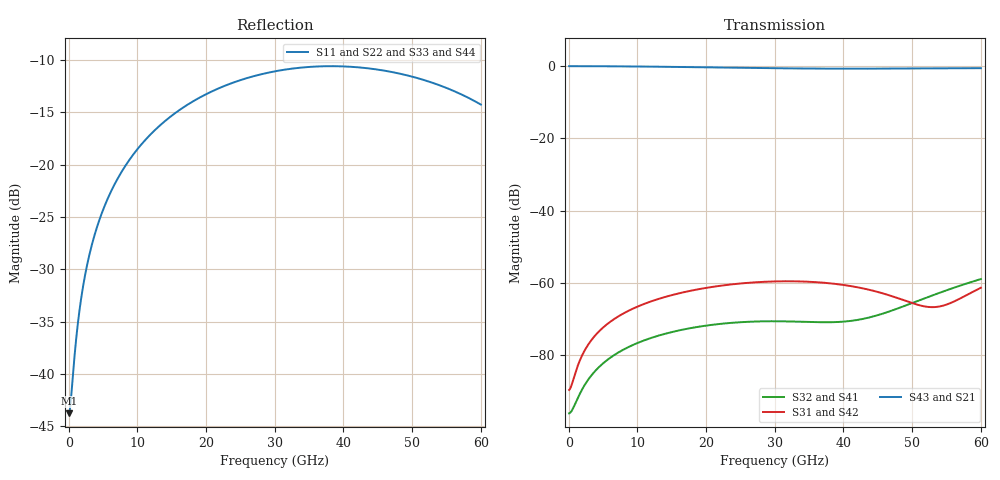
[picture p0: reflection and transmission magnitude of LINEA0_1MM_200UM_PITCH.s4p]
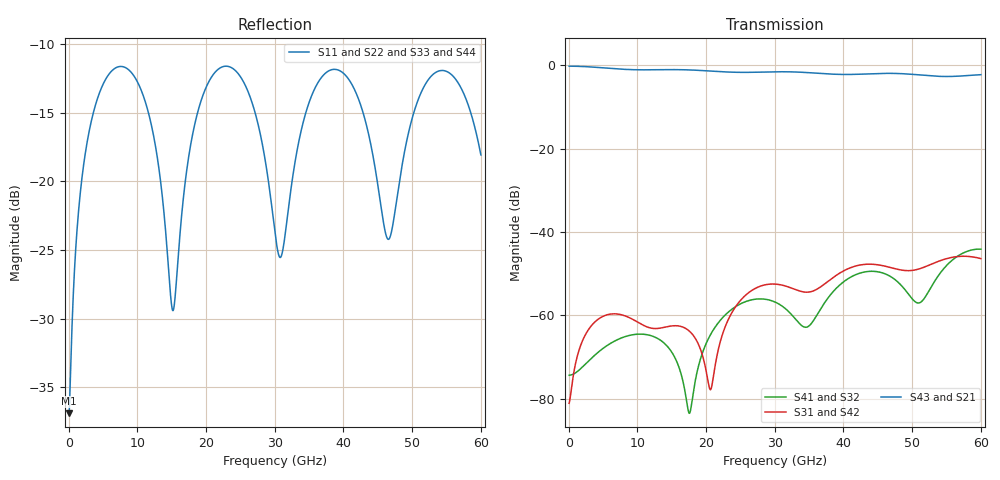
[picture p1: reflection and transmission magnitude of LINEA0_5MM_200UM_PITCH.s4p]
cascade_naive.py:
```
"""Step 1: chain five 1 mm blocks and compare with the 5 mm CST result.
Ports: 1->2 line A, 3->4 line B; ports 1 and 3 at the same (left) end."""
import numpy as np, matplotlib.pyplot as plt
from first_look_lib import load4

L, R = [0, 2], [1, 3]          # left-end ports (1,3), right-end ports (2,4)

def blocks(S):
    """Split S into left/right blocks: b_L = S_LL a_L + S_LR a_R, etc."""
    return (S[:, L][:, :, L], S[:, L][:, :, R], S[:, R][:, :, L], S[:, R][:, :, R])

def star(SA, SB):
    """Redheffer star product: A's right end connected to B's left end."""
    A11, A12, A21, A22 = blocks(SA); B11, B12, B21, B22 = blocks(SB)
    I = np.eye(2)
    M1 = np.linalg.inv(I - B11 @ A22)       # bounces between the two blocks
    M2 = np.linalg.inv(I - A22 @ B11)
    S11 = A11 + A12 @ M1 @ B11 @ A21
    S12 = A12 @ M1 @ B12
    S21 = B21 @ M2 @ A21
    S22 = B22 + B21 @ M2 @ A22 @ B12
    S = np.zeros_like(SA)
    for (i, j), blk in {(0, 0): S11, (0, 1): S12, (1, 0): S21, (1, 1): S22}.items():
        P, Q = (L, R)[i], (L, R)[j]
        for a in range(2):
            for b in range(2):
                S[:, P[a], Q[b]] = blk[:, a, b]
    return S

if __name__ == "__main__":
    f1, S1 = load4("LINEA0_1MM_200UM_PITCH.s4p")
    f5, S5 = load4("LINEA0_5MM_200UM_PITCH.s4p")
    assert np.allclose(f1, f5)
    Sc = S1
    for _ in range(4):
        Sc = star(Sc, S1)
    db = lambda x: 20*np.log10(abs(x)); G = f1/1e9
    k = lambda g: np.argmin(abs(G-g))
    print("   GHz | thru S21 dB: 5mm  1mmx5 | NEXT S31: 5mm  1mmx5 | FEXT S41: 5mm  1mmx5")
    for g in (1, 10, 30, 50, 60):
        i = k(g)
        print(f"{g:6.0f} | {db(S5[i,1,0]):7.2f} {db(Sc[i,1,0]):7.2f} | "
              f"{db(S5[i,2,0]):6.1f} {db(Sc[i,2,0]):6.1f} | {db(S5[i,3,0]):6.1f} {db(Sc[i,3,0]):6.1f}")
    fig, ax = plt.subplots(1, 3, figsize=(15, 4.2))
    for a, (r, c, name) in zip(ax, [(1, 0, "Through S21 (line A)"), (2, 0, "NEXT S31"), (3, 0, "FEXT S41")]):
        a.plot(G, db(S1[:, r, c]), color="0.7", label="1 mm (CST)")
        a.plot(G, db(S5[:, r, c]), "k", label="5 mm (CST)")
        a.plot(G, db(Sc[:, r, c]), "C3--", label="5 x 1 mm chained")
        a.set_title(name); a.set_xlabel("Frequency (GHz)"); a.set_ylabel("dB"); a.grid(alpha=.3)
    ax[0].legend()
    plt.tight_layout(); plt.savefig("cascade_naive.png", dpi=130)
```
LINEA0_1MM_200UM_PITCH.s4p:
! TOUCHSTONE file generated by CST MICROWAVE STUDIO
! Date and time: Wed Oct 14 10:40:22 2026
! Project name: LINEA0_1MM_200UM_PITCH.cst
! Parameters = {CHANNEL_PITCH=0.2; GAP=0.00415; L=1; L1=0.02; L2=0.086; L3=0.066; NCELL=1; PITCH=0.18; START_POSITION=0.08; W1=0.003; W2=0.004; W3=0.009; WG=0.04985; gap_oxr=0.00125; linbo3_thickness=0.0002; mtx=0.002; oxiDinE=0.0014; w=0.15; ws=0.035}
! Header version: 2024
! Port assignment regex: !\s*Touchstone port\s*([0-9]+)\s*=\s*(CST MWS port|CST DES external port|CST DES block port)\s*(.+)\s* \(\"(.*)\"\)(\s*mode\s*([0-9]+))?.*
! Touchstone port assignment:
! Touchstone port 1 = CST MWS port 1 ("")
! Touchstone port 2 = CST MWS port 2 ("")
! Touchstone port 3 = CST MWS port 3 ("")
! Touchstone port 4 = CST MWS port 4 ("")
# GHz S MA R 50
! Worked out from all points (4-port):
!   1000 points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, 60 MHz to 60 GHz, reference 50 ohm
!   strongest paths, dB at 60 MHz, 15.06 GHz, 30.06 GHz, 45.06 GHz, 60 GHz:
!     S43: -0.1, -0.3, -0.6, -0.7, -0.6
!     S21: -0.1, -0.3, -0.6, -0.7, -0.6
!     S31: -89.6, -63.4, -59.6, -62.6, -61.4
!     S42: -89.6, -63.4, -59.6, -62.6, -61.4
!     S32: -96.1, -73.6, -70.6, -68.9, -59.0
!     S41: -96.1, -73.6, -70.6, -68.9, -59.0
!   lowest |S11| = -43.7 dB at 60 MHz (marker M1), VSWR 1.01, Z = 50.6 - j0.0756 ohm
!   |S11| at or under -10 dB: start of sweep to end of sweep
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0.06  0.006495 -6.6  0.9921 -0.2  3.3e-05 4.9  1.566e-05 176.4
      0.9921 -0.2  0.006495 -6.6  1.566e-05 176.4  3.3e-05 4.9
      3.3e-05 4.9  1.566e-05 176.4  0.006485 -6.6  0.9921 -0.2
      1.566e-05 176.4  3.3e-05 4.9  0.9921 -0.2  0.006485 -6.6
15.36  0.175 -123.6  0.9694 -38.4  0.0006892 48.8  0.0002121 20.7
       0.9694 -38.4  0.175 -123.6  0.0002121 20.7  0.0006892 48.8
       0.0006892 48.8  0.0002121 20.7  0.1751 -123.6  0.9694 -38.4
       0.0002121 20.7  0.0006892 48.8  0.9694 -38.4  0.1751 -123.6
60  0.1937 137.7  0.9306 -141.3  0.0008552 27.8  0.001127 -105.1
    0.9306 -141.3  0.1937 137.7  0.001127 -105.1  0.0008552 27.8
    0.0008552 27.8  0.001127 -105.1  0.1939 137.7  0.9307 -141.2
    0.001127 -105.1  0.0008552 27.8  0.9307 -141.2  0.1939 137.7
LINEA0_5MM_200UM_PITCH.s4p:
! TOUCHSTONE file generated by CST MICROWAVE STUDIO
! Date and time: Thu Oct 15 09:16:29 2026
! Project name: LINEA0_5MM_200UM_PITCH.cst
! Parameters = {CHANNEL_PITCH=0.2; GAP=0.00415; L=5; L1=0.02; L2=0.086; L3=0.066; NCELL=1; PITCH=0.18; START_POSITION=0.08; W1=0.003; W2=0.004; W3=0.009; WG=0.04985; gap_oxr=0.00125; linbo3_thickness=0.0002; mtx=0.002; oxiDinE=0.0014; w=0.15; ws=0.035}
! Header version: 2024
! Port assignment regex: !\s*Touchstone port\s*([0-9]+)\s*=\s*(CST MWS port|CST DES external port|CST DES block port)\s*(.+)\s* \(\"(.*)\"\)(\s*mode\s*([0-9]+))?.*
! Touchstone port assignment:
! Touchstone port 1 = CST MWS port 1 ("")
! Touchstone port 2 = CST MWS port 2 ("")
! Touchstone port 3 = CST MWS port 3 ("")
! Touchstone port 4 = CST MWS port 4 ("")
# GHz S MA R 50
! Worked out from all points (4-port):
!   1000 points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, 60 MHz to 60 GHz, reference 50 ohm
!   strongest paths, dB at 60 MHz, 15.06 GHz, 30.06 GHz, 45.06 GHz, 60 GHz:
!     S43: -0.2, -1.0, -1.5, -1.9, -2.2
!     S21: -0.2, -1.0, -1.5, -2.0, -2.2
!     S31: -81.1, -62.5, -52.5, -47.9, -46.4
!     S42: -81.1, -62.5, -52.5, -47.9, -46.4
!     S41: -74.4, -69.0, -56.8, -49.6, -44.1
!     S32: -74.4, -69.0, -56.8, -49.6, -44.1
!   lowest |S11| = -36.9 dB at 60 MHz (marker M1), VSWR 1.03, Z = 51.4 - j0.352 ohm
!   |S11| at or under -10 dB: start of sweep to end of sweep
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0.06  0.01428 -13.9  0.9786 -0.8  8.818e-05 9.2  0.0001907 177.2
      0.9786 -0.8  0.01428 -13.9  0.0001907 177.2  8.818e-05 9.2
      8.81e-05 9.2  0.0001911 177.2  0.01426 -13.9  0.9786 -0.8
      0.0001911 177.2  8.81e-05 9.2  0.9786 -0.8  0.01426 -13.9
15.06  0.0343 176.1  0.8898 -178.9  0.0007479 -18.1  0.0003559 117.3
       0.8898 -178.9  0.0343 176.1  0.0003559 117.3  0.0007479 -18.1
       0.000748 -18.1  0.0003557 117.3  0.03434 175.7  0.89 -178.8
       0.0003557 117.3  0.000748 -18.1  0.89 -178.8  0.03434 175.7
60  0.125 146.1  0.7726 22.2  0.004802 -67.7  0.006239 -26.9
    0.7726 22.2  0.125 146.1  0.006239 -26.9  0.004802 -67.7
    0.004801 -67.7  0.006236 -26.9  0.1256 146.0  0.7733 22.3
    0.006236 -26.9  0.004801 -67.7  0.7733 22.3  0.1256 146.0
